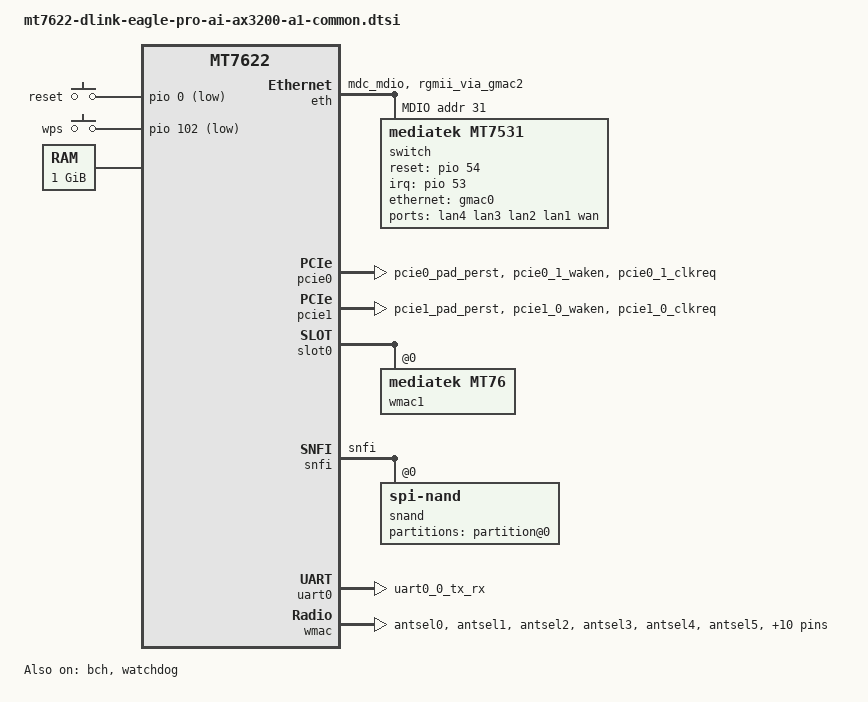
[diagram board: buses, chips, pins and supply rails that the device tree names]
// SPDX-License-Identifier: GPL-2.0-or-later OR MIT

#include "mt7622.dtsi"
#include "mt6380.dtsi"
#include <dt-bindings/gpio/gpio.h>
#include <dt-bindings/input/input.h>
#include <dt-bindings/leds/common.h>

/ {
	aliases {
		serial0 = &uart0;
		label-mac-device = &gmac0;
	};

	chosen {
		stdout-path = "serial0:115200n8";
	};

	cpus {
		cpu@0 {
			proc-supply = <&mt6380_vcpu_reg>;
			sram-supply = <&mt6380_vm_reg>;
		};

		cpu@1 {
			proc-supply = <&mt6380_vcpu_reg>;
			sram-supply = <&mt6380_vm_reg>;
		};
	};

	gpio-keys {
		compatible = "gpio-keys";

		button-reset {
			gpios = <&pio 0 GPIO_ACTIVE_LOW>;
			label = "reset";
			linux,code = <KEY_RESTART>;
		};

		button-wps {
			gpios = <&pio 102 GPIO_ACTIVE_LOW>;
			label = "wps";
			linux,code = <KEY_WPS_BUTTON>;
		};
	};

	leds {
		compatible = "gpio-leds";
	};

	memory@40000000 {
		reg = <0 0x40000000 0 0x40000000>;
		device_type = "memory";
	};
};

&bch {
	status = "okay";
};

&eth {
	pinctrl-names = "default";
	pinctrl-0 = <&eth_pins>;
	status = "okay";

	gmac0: mac@0 {
		compatible = "mediatek,eth-mac";
		phy-mode = "2500base-x";
		reg = <0>;
		nvmem-cells = <&macaddr_odm 1>;
		nvmem-cell-names = "mac-address";
		fixed-link {
			full-duplex;
			pause;
			speed = <2500>;
		};
	};

	mdio-bus {
		#address-cells = <1>;
		#size-cells = <0>;

		switch: switch@1f {
			compatible = "mediatek,mt7531";
			reg = <31>;
			interrupt-controller;
			#interrupt-cells = <1>;
			interrupt-parent = <&pio>;
			interrupts = <53 IRQ_TYPE_LEVEL_HIGH>;
			reset-gpios = <&pio 54 GPIO_ACTIVE_HIGH>;

			ports {
				#address-cells = <1>;
				#size-cells = <0>;

				port@0 {
					reg = <0>;
					label = "lan4";
				};

				port@1 {
					reg = <1>;
					label = "lan3";
				};

				port@2 {
					reg = <2>;
					label = "lan2";
				};

				port@3 {
					reg = <3>;
					label = "lan1";
				};

				wan: port@4 {
					reg = <4>;
					label = "wan";
					nvmem-cells = <&macaddr_odm 0>;
					nvmem-cell-names = "mac-address";
				};

				port@6 {
					reg = <6>;
					ethernet = <&gmac0>;
					phy-mode = "2500base-x";

					fixed-link {
						speed = <2500>;
						full-duplex;
						pause;
					};
				};
			};
		};
	};
};

&pcie0 {
	pinctrl-names = "default";
	pinctrl-0 = <&pcie0_pins>;
	status = "okay";
};

&pcie1 {
	pinctrl-names = "default";
	pinctrl-0 = <&pcie1_pins>;
	status = "okay";
};

&pio {
	epa_elna_pins: epa-elna-pins {
		mux {
			function = "antsel";
			groups = "antsel0", "antsel1", "antsel2", "antsel3",
				"antsel4", "antsel5", "antsel6", "antsel7",
				"antsel8", "antsel9", "antsel12", "antsel13",
				"antsel14", "antsel15", "antsel16", "antsel17";
		};
	};

	eth_pins: eth-pins {
		mux {
			function = "eth";
			groups = "mdc_mdio", "rgmii_via_gmac2";
		};
	};

	pcie0_pins: pcie0-pins {
		mux {
			function = "pcie";
			groups = "pcie0_pad_perst",
				 "pcie0_1_waken",
				 "pcie0_1_clkreq";
		};
	};

	pcie1_pins: pcie1-pins {
		mux {
			function = "pcie";
			groups = "pcie1_pad_perst",
				 "pcie1_0_waken",
				 "pcie1_0_clkreq";
		};
	};

	pmic_bus_pins: pmic-bus-pins {
		mux {
			function = "pmic";
			groups = "pmic_bus";
		};
	};

	/* Serial NAND is shared pin with SPI-NOR */
	serial_nand_pins: serial-nand-pins {
		mux {
			function = "flash";
			groups = "snfi";
		};
	};

	uart0_pins: uart0-pins {
		mux {
			function = "uart";
			groups = "uart0_0_tx_rx";
		};
	};

	watchdog_pins: watchdog-pins {
		mux {
			function = "watchdog";
			groups = "watchdog";
		};
	};
};

&pwrap {
	pinctrl-names = "default";
	pinctrl-0 = <&pmic_bus_pins>;
	status = "okay";
};

&rtc {
	status = "disabled";
};

&sata {
	status = "disabled";
};

&sata_phy {
	status = "disabled";
};

&slot0 {
	wmac1: wifi@0,0 {
		compatible = "mediatek,mt76";
		reg = <0x0000 0 0 0 0>;
	};
};

&snfi {
	pinctrl-names = "default";
	pinctrl-0 = <&serial_nand_pins>;
	status = "okay";

	snand: flash@0 {
		compatible = "spi-nand";
		nand-ecc-engine = <&snfi>;
		reg = <0>;
		spi-rx-bus-width = <4>;
		spi-tx-bus-width = <4>;

		partitions {
			compatible = "fixed-partitions";
			#address-cells = <1>;
			#size-cells = <1>;

			partition@0 {
				reg = <0x0 0x80000>;
				read-only;
			};
		};
	};
};

&ssusb {
	status = "disabled";
};

&u3phy {
	status = "disabled";
};

&uart0 {
	pinctrl-names = "default";
	pinctrl-0 = <&uart0_pins>;
	status = "okay";
};

&watchdog {
	pinctrl-names = "default";
	pinctrl-0 = <&watchdog_pins>;
	status = "okay";
};

&wmac {
	pinctrl-names = "default";
	pinctrl-0 = <&epa_elna_pins>;
	nvmem-cells = <&eeprom_factory_0>, <&macaddr_odm 2>;
	nvmem-cell-names = "eeprom", "mac-address";
	status = "okay";
};

&wmac1 {
	nvmem-cells = <&eeprom_factory_5000>, <&macaddr_odm 3>;
	nvmem-cell-names = "eeprom", "mac-address";
	ieee80211-freq-limit = <5000000 6000000>;
};
